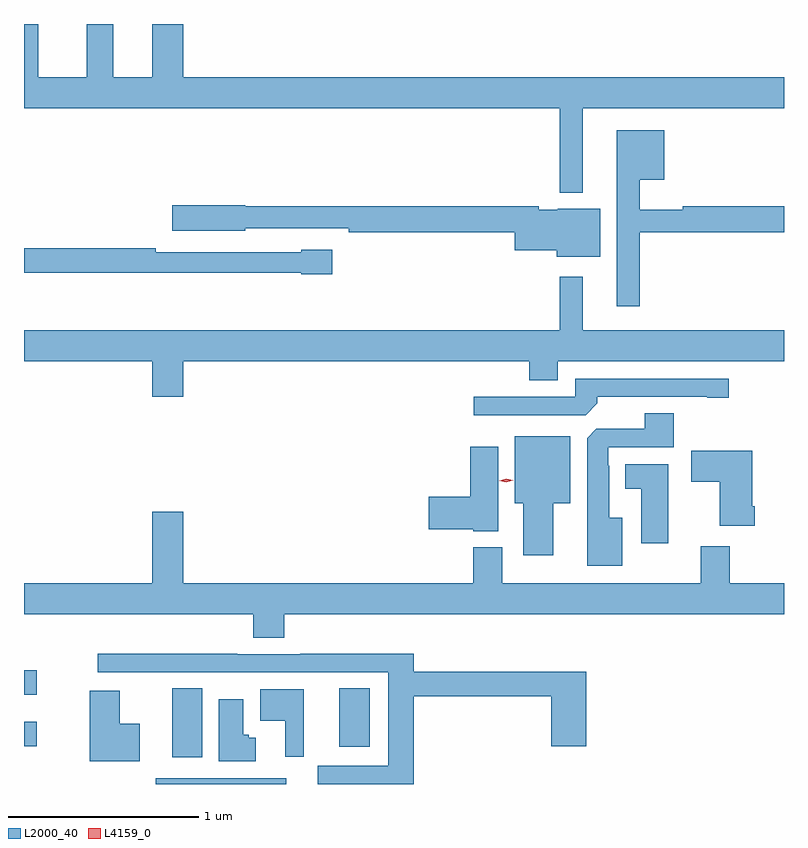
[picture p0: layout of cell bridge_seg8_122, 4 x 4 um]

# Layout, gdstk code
import gdstk
lib = gdstk.Library(unit=1e-6, precision=1e-09)
def R(c, l, rs):  # rectangles x0, y0, x1, y1
    for r in rs: c.add(gdstk.rectangle(r[:2], r[2:], *l))
def P(c, l, *ps):  # polygons
    for p in ps: c.add(gdstk.Polygon(p, *l))
L2000_40 = (2000, 40)
L4159_0 = (4159, 0)

bridge_seg8_122 = lib.new_cell('bridge_seg8_122')
R(bridge_seg8_122, L2000_40, [(836.354,1158.231,837.04,1158.261), (836.441,1158.372,836.599,1158.734), (837.32,1158.426,837.481,1158.734), (835.661,1158.43,835.729,1158.559), (835.661,1158.701,835.729,1158.831)])
P(bridge_seg8_122, L2000_40, [(838.603,1161.788),(839.661,1161.788),(839.661,1161.952),(836.5,1161.952),(836.5,1162.231),(836.336,1162.231),(836.336,1161.952),(836.131,1161.952),(836.131,1162.231),(835.991,1162.231),(835.991,1161.952),(835.735,1161.952),(835.735,1162.231),(835.661,1162.231),(835.661,1161.788),(838.482,1161.788),(838.482,1161.344),(838.603,1161.344)],
  [(838.903,1161.136),(839.661,1161.136),(839.661,1161.272),(839.128,1161.272),(839.128,1161.253),(838.903,1161.253),(838.903,1161.41),(839.032,1161.41),(839.032,1161.673),(838.781,1161.673),(838.781,1160.745),(838.903,1160.745)],
  [(838.693,1161.259),(838.47,1161.259),(838.47,1161.253),(838.37,1161.253),(838.37,1161.272),(836.826,1161.272),(836.826,1161.278),(836.442,1161.278),(836.442,1161.143),(836.826,1161.143),(836.826,1161.156),(837.37,1161.156),(837.37,1161.136),(838.244,1161.136),(838.244,1161.041),(838.466,1161.041),(838.466,1161.005),(838.693,1161.005)],
  [(837.283,1161.043),(837.12,1161.043),(837.12,1161.03),(836.354,1161.03),(836.354,1161.05),(835.661,1161.05),(835.661,1160.922),(837.12,1160.922),(837.12,1160.914),(837.283,1160.914)],
  [(835.661,1160.456),(836.336,1160.456),(836.336,1160.268),(836.5,1160.268),(836.5,1160.456),(838.319,1160.456),(838.319,1160.357),(838.471,1160.357),(838.471,1160.456),(839.661,1160.456),(839.661,1160.62),(838.603,1160.62),(838.603,1160.902),(838.482,1160.902),(838.482,1160.62),(835.661,1160.62)],
  [(838.679,1160.234),(838.679,1160.268),(839.258,1160.268),(839.258,1160.263),(839.371,1160.263),(839.371,1160.364),(838.563,1160.364),(838.563,1160.268),(838.029,1160.268),(838.029,1160.172),(838.617,1160.172)],
  [(838.81,1159.633),(838.741,1159.633),(838.741,1159.907),(838.737,1159.907),(838.737,1160.004),(839.081,1160.004),(839.081,1160.183),(838.928,1160.183),(838.928,1160.1),(838.674,1160.1),(838.625,1160.051),(838.625,1159.379),(838.81,1159.379)],
  [(838.447,1159.709),(838.537,1159.709),(838.537,1160.062),(838.244,1160.062),(838.244,1159.709),(838.289,1159.709),(838.289,1159.434),(838.447,1159.434)],
  [(838.156,1160.005),(838.01,1160.005),(838.01,1159.742),(837.792,1159.742),(837.792,1159.571),(838.026,1159.571),(838.026,1159.562),(838.156,1159.562)],
  [(839.507,1159.693),(839.494,1159.693),(839.494,1159.984),(839.172,1159.984),(839.172,1159.822),(839.324,1159.822),(839.324,1159.589),(839.507,1159.589)],
  [(839.053,1159.915),(838.826,1159.915),(838.826,1159.784),(838.91,1159.784),(838.91,1159.497),(839.053,1159.497)],
  [(837.032,1159.124),(839.661,1159.124),(839.661,1159.288),(839.375,1159.288),(839.375,1159.483),(839.222,1159.483),(839.222,1159.288),(838.177,1159.288),(838.177,1159.477),(838.025,1159.477),(838.025,1159.288),(836.5,1159.288),(836.5,1159.663),(836.336,1159.663),(836.336,1159.288),(835.661,1159.288),(835.661,1159.124),(836.867,1159.124),(836.867,1159),(837.032,1159)],
  [(837.713,1158.694),(838.436,1158.694),(838.436,1158.429),(838.619,1158.429),(838.619,1158.823),(837.713,1158.823),(837.713,1158.917),(837.115,1158.917),(837.115,1158.915),(836.783,1158.915),(836.783,1158.917),(836.049,1158.917),(836.049,1158.819),(837.578,1158.819),(837.578,1158.327),(837.207,1158.327),(837.207,1158.231),(837.713,1158.231)],
  [(837.134,1158.73),(836.904,1158.73),(836.904,1158.565),(837.035,1158.565),(837.035,1158.375),(837.134,1158.375)],
  [(836.269,1158.547),(836.164,1158.547),(836.164,1158.721),(836.006,1158.721),(836.006,1158.35),(836.269,1158.35)],
  [(836.881,1158.474),(836.844,1158.474),(836.844,1158.49),(836.815,1158.49),(836.815,1158.676),(836.687,1158.676),(836.687,1158.35),(836.881,1158.35)])
P(bridge_seg8_122, L4159_0, [(838.199,1159.818),(838.161,1159.827),(838.161,1159.827),(838.161,1159.827),(838.199,1159.838),(838.237,1159.829),(838.237,1159.829),(838.237,1159.829)])

lib.write_gds('bridge_seg8_122.gds')
